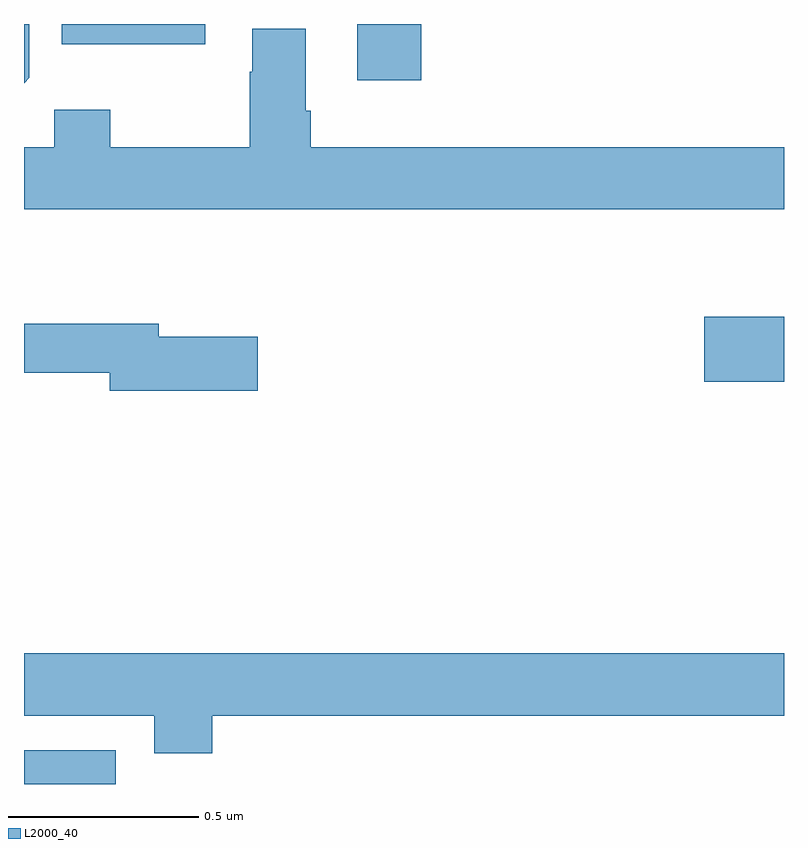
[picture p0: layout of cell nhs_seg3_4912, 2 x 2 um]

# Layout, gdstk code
import gdstk
lib = gdstk.Library(unit=1e-6, precision=1e-09)
def R(c, l, rs):  # rectangles x0, y0, x1, y1
    for r in rs: c.add(gdstk.rectangle(r[:2], r[2:], *l))
def P(c, l, *ps):  # polygons
    for p in ps: c.add(gdstk.Polygon(p, *l))
L2000_40 = (2000, 40)

nhs_seg3_4912 = lib.new_cell('nhs_seg3_4912')
R(nhs_seg3_4912, L2000_40, [(172,703.4,172.242,703.489), (173.79,704.459,174,704.629), (172.877,705.252,173.045,705.4), (172.099,705.347,172.477,705.4)])
P(nhs_seg3_4912, L2000_40, [(172.014,705.258),(172.014,705.4),(172,705.4),(172,705.244)],
  [(174,705.076),(172.754,705.076),(172.754,705.172),(172.741,705.172),(172.741,705.388),(172.601,705.388),(172.601,705.275),(172.594,705.275),(172.594,705.076),(172.227,705.076),(172.227,705.175),(172.08,705.175),(172.08,705.076),(172,705.076),(172,704.912),(174,704.912)],
  [(172.615,704.577),(172.354,704.577),(172.354,704.611),(172,704.611),(172,704.482),(172.226,704.482),(172.226,704.435),(172.615,704.435)],
  [(172.496,703.58),(174,703.58),(174,703.744),(172,703.744),(172,703.58),(172.343,703.58),(172.343,703.481),(172.496,703.481)])

lib.write_gds('nhs_seg3_4912.gds')
